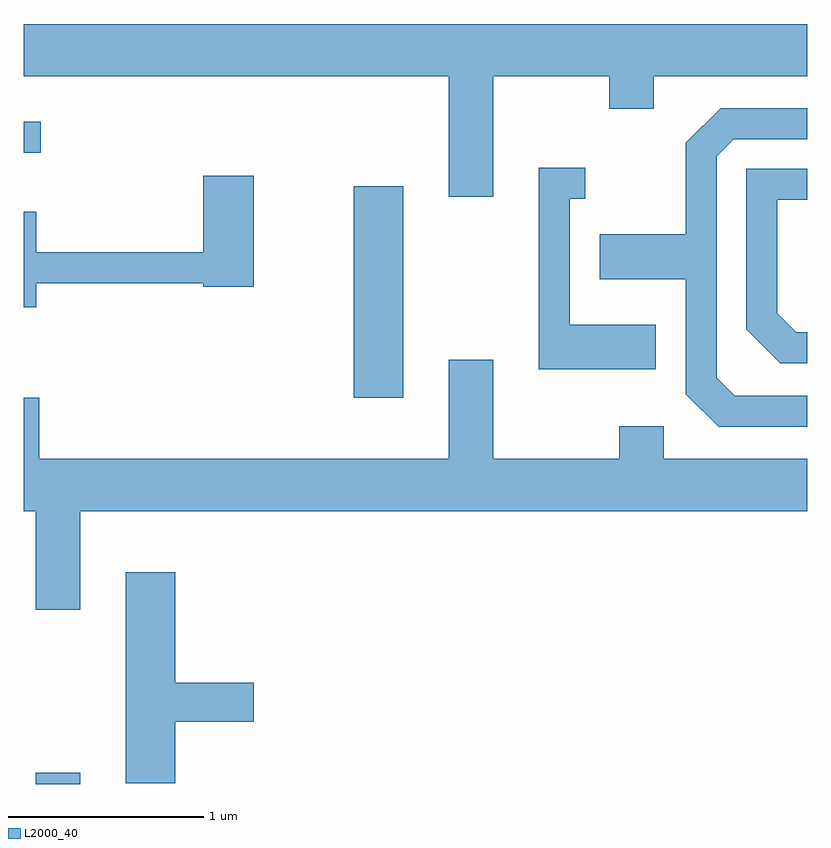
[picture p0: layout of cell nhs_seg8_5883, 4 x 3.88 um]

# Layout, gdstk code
import gdstk
lib = gdstk.Library(unit=1e-6, precision=1e-09)
def R(c, l, rs):  # rectangles x0, y0, x1, y1
    for r in rs: c.add(gdstk.rectangle(r[:2], r[2:], *l))
def P(c, l, *ps):  # polygons
    for p in ps: c.add(gdstk.Polygon(p, *l))
L2000_40 = (2000, 40)

nhs_seg8_5883 = lib.new_cell('nhs_seg8_5883')
R(nhs_seg8_5883, L2000_40, [(361.671,1848.342,361.899,1848.399), (363.296,1850.316,363.549,1851.394), (361.611,1851.566,361.698,1851.724)])
P(nhs_seg8_5883, L2000_40, [(364.009,1851.956),(364.601,1851.956),(364.601,1851.791),(364.829,1851.791),(364.829,1851.956),(365.611,1851.956),(365.611,1852.224),(361.611,1852.224),(361.611,1851.956),(363.781,1851.956),(363.781,1851.341),(364.009,1851.341)],
  [(365.611,1850.324),(365.242,1850.324),(365.149,1850.417),(365.149,1851.549),(365.237,1851.636),(365.611,1851.636),(365.611,1851.794),(365.169,1851.794),(364.991,1851.617),(364.991,1851.149),(364.551,1851.149),(364.551,1850.921),(364.991,1850.921),(364.991,1850.334),(365.159,1850.166),(365.611,1850.166)],
  [(364.839,1850.689),(364.399,1850.689),(364.399,1851.331),(364.478,1851.331),(364.478,1851.489),(364.241,1851.489),(364.241,1850.461),(364.839,1850.461)],
  [(365.611,1850.649),(365.557,1850.649),(365.459,1850.747),(365.459,1851.326),(365.611,1851.326),(365.611,1851.484),(365.301,1851.484),(365.301,1850.664),(365.474,1850.491),(365.611,1850.491)],
  [(361.674,1850.901),(362.526,1850.901),(362.526,1850.881),(362.784,1850.881),(362.784,1851.449),(362.526,1851.449),(362.526,1851.059),(361.674,1851.059),(361.674,1851.264),(361.611,1851.264),(361.611,1850.776),(361.674,1850.776)],
  [(361.899,1849.736),(365.611,1849.736),(365.611,1850.004),(364.879,1850.004),(364.879,1850.169),(364.651,1850.169),(364.651,1850.004),(364.009,1850.004),(364.009,1850.509),(363.781,1850.509),(363.781,1850.004),(361.689,1850.004),(361.689,1850.314),(361.611,1850.314),(361.611,1849.736),(361.671,1849.736),(361.671,1849.231),(361.899,1849.231)],
  [(362.384,1848.661),(362.784,1848.661),(362.784,1848.859),(362.384,1848.859),(362.384,1849.424),(362.131,1849.424),(362.131,1848.346),(362.384,1848.346)])

lib.write_gds('nhs_seg8_5883.gds')
